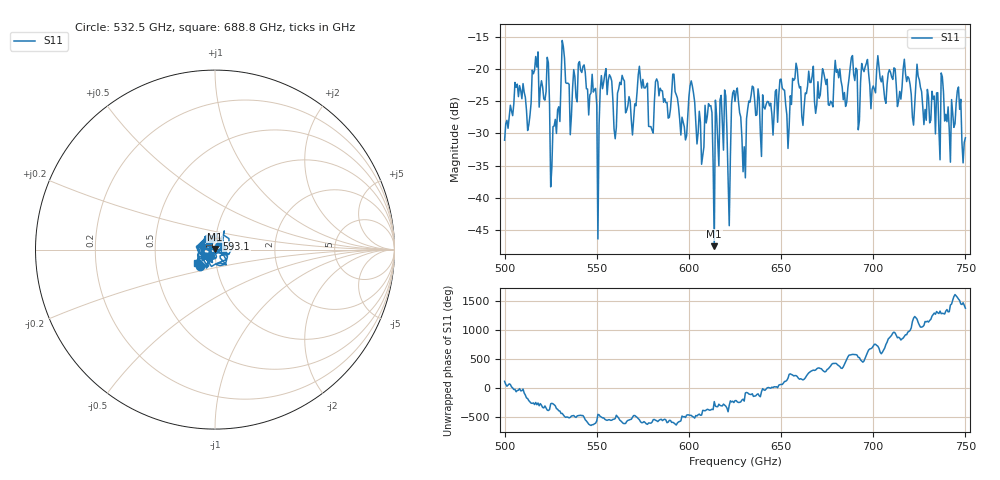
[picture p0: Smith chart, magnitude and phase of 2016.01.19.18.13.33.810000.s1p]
!Created with skrf (http://scikit-rf.org).
# GHz S RI R 50.0
!freq ReS11 ImS11
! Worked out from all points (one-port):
!   401 points, 500 GHz to 750 GHz, reference 50 ohm
!   lowest |S11| = -47.5 dB at 613.8 GHz (marker M1), VSWR 1.01, Z = 49.8 + j0.35 ohm
!   |S11| at or under -10 dB: start of sweep to end of sweep
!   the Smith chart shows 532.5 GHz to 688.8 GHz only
!   S11 on the Smith chart (normalised r, x): 532.5 GHz: 0.84, -0.15; 593.1 GHz: 1.01, +0.13; 688.8 GHz: 0.81, -0.13
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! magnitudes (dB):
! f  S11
! 500 GHz  -31.0
! 506.9 GHz  -22.4
! 513.1 GHz  -28.7
! 516.9 GHz  -18.1
! 523.1 GHz  -18.2
! 526.2 GHz  -28.9
! 531.2 GHz  -15.6
! 532.5 GHz  -18.3
! 550 GHz  -25.6
! 553.8 GHz  -22.1
! 562.5 GHz  -22.1
! 570 GHz  -27.9
! 573.8 GHz  -21.6
! 579.4 GHz  -28.9
! 593.1 GHz  -24.0
! 593.8 GHz  -24.5
! 613.8 GHz  -47.5
! 618.8 GHz  -32.6
! 621.9 GHz  -44.3
! 625 GHz  -25.0
! 630 GHz  -32.1
! 633.8 GHz  -24.1
! 656.2 GHz  -21.5
! 687.5 GHz  -19.8
! 688.8 GHz  -17.9
! 718.8 GHz  -21.2
! 746.2 GHz  -22.8
! 750 GHz  -30.7
